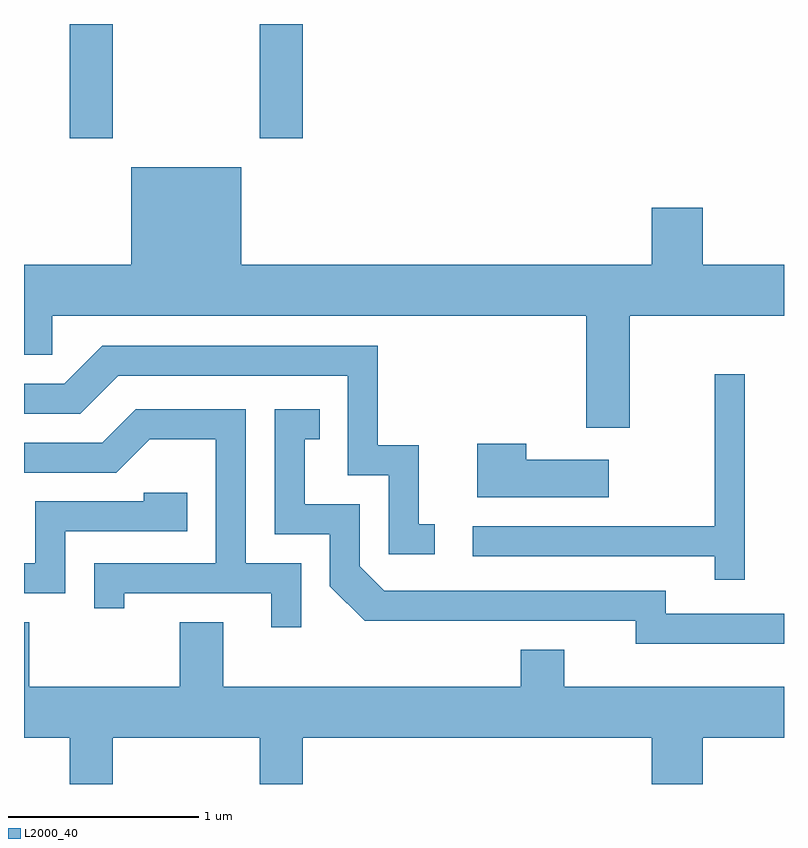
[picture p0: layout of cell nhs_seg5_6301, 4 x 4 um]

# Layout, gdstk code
import gdstk
lib = gdstk.Library(unit=1e-6, precision=1e-09)
def R(c, l, rs):  # rectangles x0, y0, x1, y1
    for r in rs: c.add(gdstk.rectangle(r[:2], r[2:], *l))
def P(c, l, *ps):  # polygons
    for p in ps: c.add(gdstk.Polygon(p, *l))
L2000_40 = (2000, 40)

nhs_seg5_6301 = lib.new_cell('nhs_seg5_6301')
R(nhs_seg5_6301, L2000_40, [(371.851,1495.471,372.079,1496.072), (372.851,1495.471,373.079,1496.072)])
P(nhs_seg5_6301, L2000_40, [(374.799,1494.536),(375.611,1494.536),(375.611,1494.804),(375.184,1494.804),(375.184,1495.104),(374.916,1495.104),(374.916,1494.804),(372.754,1494.804),(372.754,1495.319),(372.176,1495.319),(372.176,1494.804),(371.611,1494.804),(371.611,1494.331),(371.759,1494.331),(371.759,1494.536),(374.571,1494.536),(374.571,1493.946),(374.799,1493.946)],
  [(373.773,1493.439),(373.689,1493.439),(373.689,1493.854),(373.474,1493.854),(373.474,1494.379),(372.024,1494.379),(371.824,1494.179),(371.611,1494.179),(371.611,1494.021),(371.907,1494.021),(372.107,1494.221),(373.316,1494.221),(373.316,1493.696),(373.531,1493.696),(373.531,1493.281),(373.773,1493.281)],
  [(375.404,1494.228),(375.246,1494.228),(375.246,1493.429),(373.973,1493.429),(373.973,1493.271),(375.246,1493.271),(375.246,1493.148),(375.404,1493.148)],
  [(373.069,1493.234),(372.779,1493.234),(372.779,1494.044),(372.199,1494.044),(372.024,1493.869),(371.611,1493.869),(371.611,1493.711),(372.097,1493.711),(372.272,1493.886),(372.621,1493.886),(372.621,1493.234),(371.981,1493.234),(371.981,1492.998),(372.139,1492.998),(372.139,1493.076),(372.911,1493.076),(372.911,1492.898),(373.069,1492.898)],
  [(375.611,1492.969),(374.989,1492.969),(374.989,1493.089),(373.507,1493.089),(373.379,1493.217),(373.379,1493.544),(373.089,1493.544),(373.089,1493.886),(373.168,1493.886),(373.168,1494.044),(372.931,1494.044),(372.931,1493.386),(373.221,1493.386),(373.221,1493.114),(373.404,1492.931),(374.831,1492.931),(374.831,1492.811),(375.611,1492.811)],
  [(374.689,1493.779),(374.254,1493.779),(374.254,1493.864),(373.996,1493.864),(373.996,1493.581),(374.689,1493.581)],
  [(371.829,1493.401),(372.469,1493.401),(372.469,1493.604),(372.241,1493.604),(372.241,1493.559),(371.671,1493.559),(371.671,1493.234),(371.611,1493.234),(371.611,1493.076),(371.829,1493.076)],
  [(372.079,1492.316),(372.851,1492.316),(372.851,1492.072),(373.079,1492.072),(373.079,1492.316),(374.916,1492.316),(374.916,1492.072),(375.184,1492.072),(375.184,1492.316),(375.611,1492.316),(375.611,1492.584),(374.454,1492.584),(374.454,1492.779),(374.226,1492.779),(374.226,1492.584),(372.659,1492.584),(372.659,1492.924),(372.431,1492.924),(372.431,1492.584),(371.639,1492.584),(371.639,1492.924),(371.611,1492.924),(371.611,1492.316),(371.851,1492.316),(371.851,1492.072),(372.079,1492.072)])

lib.write_gds('nhs_seg5_6301.gds')
